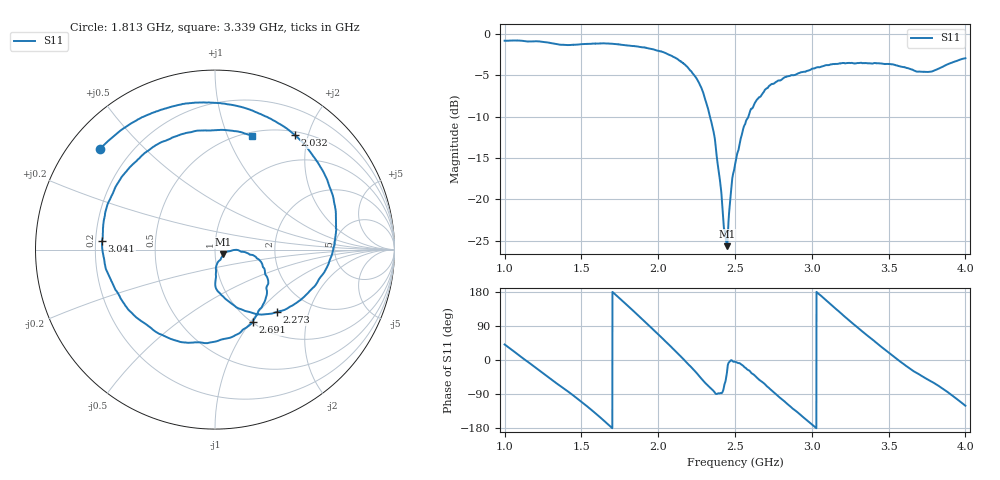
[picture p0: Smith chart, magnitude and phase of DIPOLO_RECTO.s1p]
!Agilent Technologies,E8364A,US41440144,A.06.04.32
!Agilent E8364A: A.06.04.32
!Date: Thursday, May 24, 2018 11:13:50
!Correction: S11(Full 1 Port(1))
!S1P File: Measurement: S11:
# Hz S  dB  R 50
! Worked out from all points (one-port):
!   3201 points, 1 GHz to 4 GHz, reference 50 ohm
!   lowest |S11| = -25.7 dB at 2.448 GHz (marker M1), VSWR 1.11, Z = 54.7 - j2.84 ohm
!   |S11| at or under -10 dB: 2.337 GHz to 2.587 GHz (250.3 MHz wide, 10.2 % of centre)
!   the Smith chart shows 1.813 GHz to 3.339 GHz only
!   S11 on the Smith chart (normalised r, x): 1.813 GHz: 0.09, +0.37; 2.032 GHz: 0.55, +1.78; 2.273 GHz: 1.39, -1.27; 2.691 GHz: 1.01, -1.02; 3.041 GHz: 0.23, +0.03; 3.339 GHz: 0.54, +1.23
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1e9  -0.80 41.0
1.095625e9  -0.77 11.9
1.185625e9  -0.88 -15.0
1.375e9  -1.29 -72.1
1.546562e9  -1.18 -125.4
1.655312e9  -1.13 -163.3
1.75e9  -1.26 162.2
1.812812e9  -1.40 139.0
1.921562e9  -1.65 97.8
2.032188e9  -2.18 55.2
2.125e9  -3.01 18.1
2.18875e9  -3.95 -8.1
2.273125e9  -6.20 -45.1
2.367812e9  -12.55 -85.6
2.448438e9  -25.67 -29.8
2.5e9  -15.82 -4.6
2.598438e9  -9.32 -30.1
2.69125e9  -6.87 -62.4
2.7775e9  -5.67 -94.0
2.875e9  -4.97 -128.0
3.040938e9  -4.00 175.8
3.13375e9  -3.64 143.3
3.25e9  -3.51 102.0
3.339062e9  -3.52 72.1
3.495625e9  -3.60 21.2
3.625e9  -4.12 -18.7
3.874375e9  -3.74 -81.8
4e9  -2.92 -120.7
